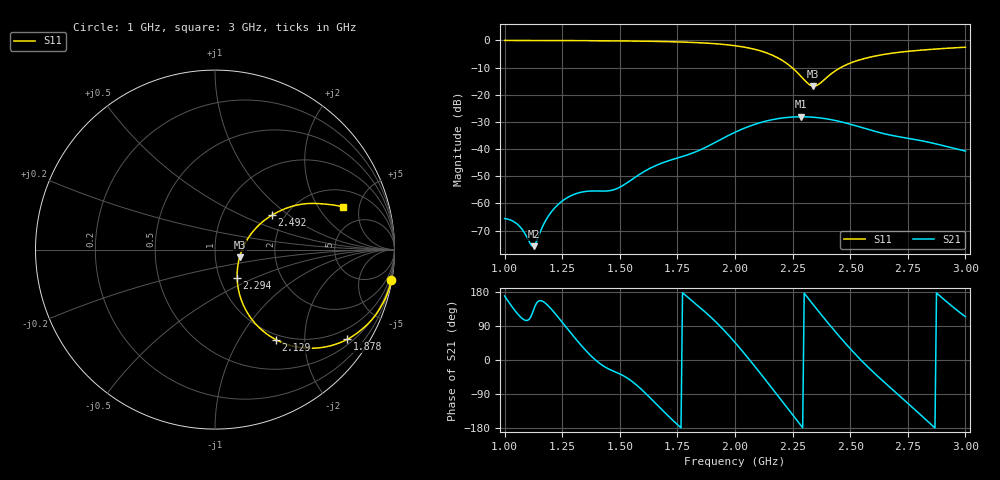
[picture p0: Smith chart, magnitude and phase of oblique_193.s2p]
! TOUCHSTONE file generated by CST MICROWAVE STUDIO
! Date and time: Tue Mar 18 00:02:58 2025
! Project name: oblique.cst
! Parameters = {Tilt=40; Fracture=1; B=12.5; D=160; F=15; Feed=2.85625; L=100; M=30; R=0.384908; S=2; Theta=90; length=57.125; wave=114.25}
! Header version: 2024
! Port assignment regex: !\s*Touchstone port\s*([0-9]+)\s*=\s*(CST MWS port|CST DES external port|CST DES block port)\s*(.+)\s* \(\"(.*)\"\)(\s*mode\s*([0-9]+))?.*
! Touchstone port assignment:
! Touchstone port 1 = CST MWS port 1 ("")
! Touchstone port 2 = CST MWS port 2 ("")
# GHz S DB R 50
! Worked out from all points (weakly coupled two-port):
!   304 points, 1 GHz to 3 GHz, reference 50 ohm
!   highest |S21| = -28.10 dB at 2.287 GHz (marker M1); lowest = -75.7 dB at 1.125 GHz (marker M2)
!   lowest |S11| = -16.9 dB at 2.34 GHz (marker M3), VSWR 1.34, Z = 65.6 - j5.85 ohm
!   |S11| at or under -10 dB: 2.247 GHz to 2.459 GHz (211.4 MHz wide, 8.98 % of centre)
!   S12 and S22 are empty: the file has one direction only
!   S11 on the Smith chart (normalised r, x): 1 GHz: 0, -12; 1.878 GHz: 0.65, -3.13; 2.129 GHz: 0.92, -1.46; 2.294 GHz: 1.21, -0.40; 2.492 GHz: 1.71, +0.76; 3 GHz: 3.13, +3.40
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1  -0.02 -9.8  -65.56 169.0  -200.00 0.0  -200.00 0.0
1.05941  -0.03 -10.6  -67.95 119.7  -200.00 0.0  -200.00 0.0
1.08581  -0.03 -11.0  -70.75 105.6  -200.00 0.0  -200.00 0.0
1.11221  -0.03 -11.4  -74.89 112.3  -200.00 0.0  -200.00 0.0
1.12541  -0.04 -11.6  -75.72 131.8  -200.00 0.0  -200.00 0.0
1.17822  -0.05 -12.4  -66.28 149.4  -200.00 0.0  -200.00 0.0
1.21782  -0.06 -13.0  -61.59 123.7  -200.00 0.0  -200.00 0.0
1.27063  -0.07 -14.0  -57.93 84.0  -200.00 0.0  -200.00 0.0
1.33663  -0.10 -15.2  -55.79 35.7  -200.00 0.0  -200.00 0.0
1.48185  -0.18 -18.5  -54.73 -31.9  -200.00 0.0  -200.00 0.0
1.66667  -0.38 -24.1  -45.68 -121.2  -200.00 0.0  -200.00 0.0
1.87789  -1.01 -34.2  -39.13 122.7  -200.00 0.0  -200.00 0.0
2.0033  -1.99 -43.5  -33.68 44.0  -200.00 0.0  -200.00 0.0
2.12871  -4.34 -55.9  -29.81 -49.6  -200.00 0.0  -200.00 0.0
2.21452  -7.88 -62.8  -28.45 -116.7  -200.00 0.0  -200.00 0.0
2.28713  -13.29 -54.9  -28.10 -173.5  -200.00 0.0  -200.00 0.0
2.29373  -13.89 -52.4  -28.10 -178.7  -200.00 0.0  -200.00 0.0
2.33993  -16.86 -17.7  -28.27 145.7  -200.00 0.0  -200.00 0.0
2.41254  -12.64 25.4  -29.09 91.2  -200.00 0.0  -200.00 0.0
2.49175  -8.65 31.2  -30.64 35.4  -200.00 0.0  -200.00 0.0
2.66997  -4.85 26.6  -34.77 -70.5  -200.00 0.0  -200.00 0.0
3  -2.50 18.5  -40.72 114.2  -200.00 0.0  -200.00 0.0
